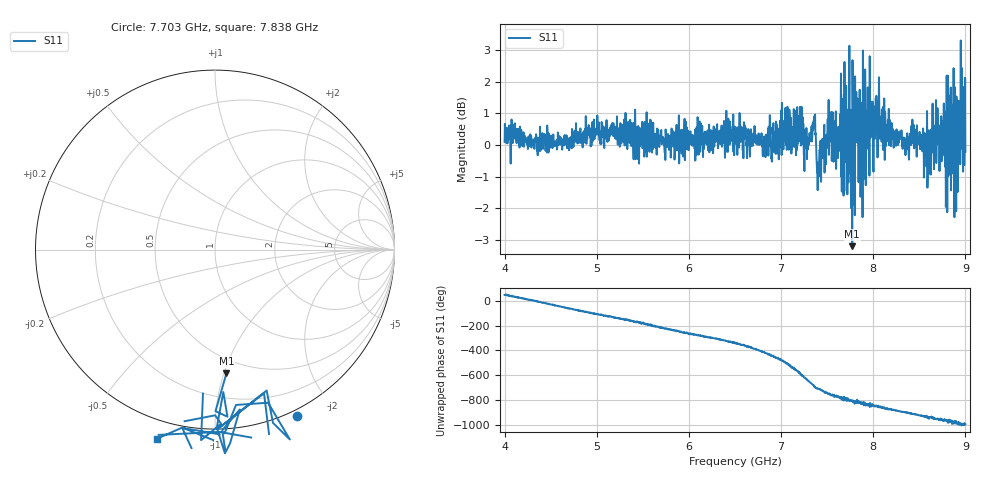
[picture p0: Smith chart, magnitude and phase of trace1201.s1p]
! Created with skrf 1.8.0 (http://scikit-rf.org).
# Hz S RI R 50.0
!freq ReS11 ImS11
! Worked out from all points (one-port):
!   1601 points, 4 GHz to 9 GHz, reference 50 ohm
!   lowest |S11| = -3.2 dB at 7.772 GHz (marker M1), VSWR 5.51, Z = 19.2 - j51 ohm
!   |S11| at or under -10 dB: nowhere
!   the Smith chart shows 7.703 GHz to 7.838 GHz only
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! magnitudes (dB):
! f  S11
! 4 GHz  0.1
! 4.625 GHz  -0.1
! 5.25 GHz  -0.1
! 5.875 GHz  -0.1
! 6.5 GHz  0.3
! 6.825 GHz  0.1
! 7.069 GHz  1.2
! 7.125 GHz  0.6
! 7.209 GHz  0.8
! 7.272 GHz  0.2
! 7.353 GHz  0.8
! 7.409 GHz  -1.0
! 7.522 GHz  0.1
! 7.609 GHz  0.3
! 7.669 GHz  0.8
! 7.75 GHz  -0.9
! 7.772 GHz  -3.2
! 7.828 GHz  1.5
! 7.881 GHz  -0.4
! 7.962 GHz  2.8
! 7.981 GHz  0.3
! 8.375 GHz  0.0
! 8.438 GHz  0.6
! 8.603 GHz  0.5
! 8.691 GHz  0.4
! 8.9 GHz  -2.1
! 8.953 GHz  -0.1
! 9 GHz  -0.2
